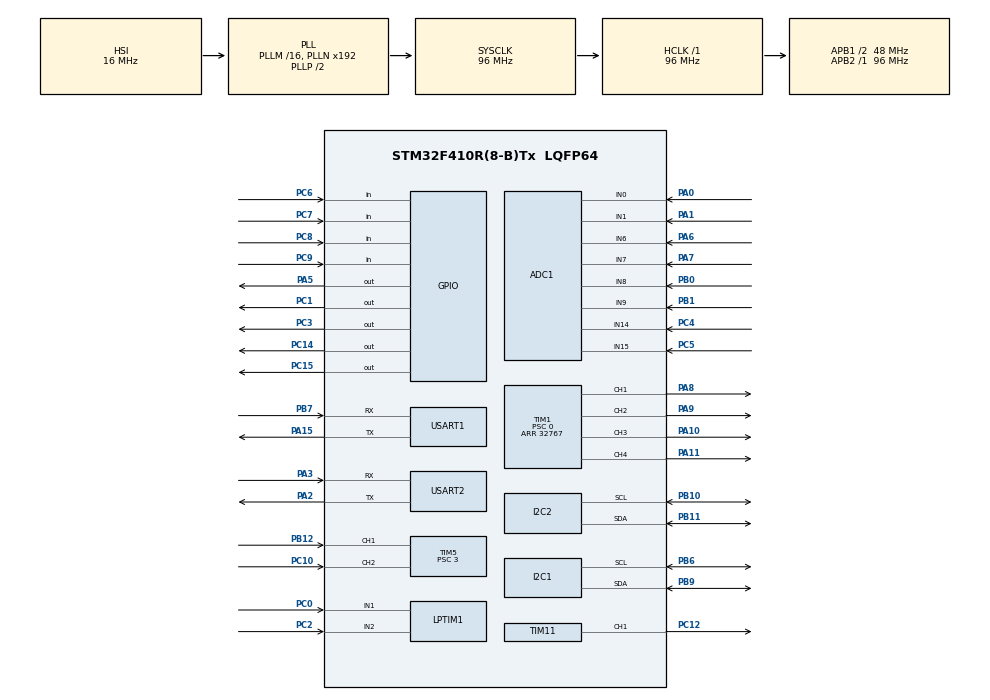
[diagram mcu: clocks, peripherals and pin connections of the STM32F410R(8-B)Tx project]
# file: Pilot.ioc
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ADC1.Channel-1\#ChannelRegularConversion=ADC_CHANNEL_0
ADC1.NbrOfConversionFlag=1
ADC1.Rank-1\#ChannelRegularConversion=1
ADC1.SamplingTime-1\#ChannelRegularConversion=ADC_SAMPLETIME_3CYCLES
ADC1.master=1
FREERTOS.Tasks01=defaultTask,0,128,StartDefaultTask,Default,NULL
LPTIM1.ULPClockPolarity=LPTIM_CLOCKPOLARITY_RISING_FALLING
Mcu.Family=STM32F4
Mcu.Name=STM32F410R(8-B)Tx
Mcu.Package=LQFP64
NVIC.PriorityGroup=NVIC_PRIORITYGROUP_4
NVIC.TIM6_DAC_IRQn=true\:0\:0\:false\:false\:true\:false\:false\:true
NVIC.TimeBase=TIM6_DAC_IRQn
NVIC.TimeBaseIP=TIM6
PA0-WKUP.Signal=ADCx_IN0
PA1.Signal=ADCx_IN1
PA10.GPIO_Speed=GPIO_SPEED_FREQ_HIGH
PA10.Signal=S_TIM1_CH3
PA11.GPIO_Speed=GPIO_SPEED_FREQ_HIGH
PA11.Signal=S_TIM1_CH4
PA13.Mode=Trace_Asynchronous_SW
PA13.Signal=SYS_JTMS-SWDIO
PA14.Mode=Trace_Asynchronous_SW
PA14.Signal=SYS_JTCK-SWCLK
PA15.Mode=Asynchronous
PA15.Signal=USART1_TX
PA2.Mode=Asynchronous
PA2.Signal=USART2_TX
PA3.Mode=Asynchronous
PA3.Signal=USART2_RX
PA5.GPIO_ModeDefaultOutputPP=GPIO_MODE_OUTPUT_PP
PA5.GPIO_PuPd=GPIO_NOPULL
PA5.GPIO_Speed=GPIO_SPEED_FREQ_LOW
PA5.PinState=GPIO_PIN_RESET
PA5.Signal=GPIO_Output
PA6.Signal=ADCx_IN6
PA7.Signal=ADCx_IN7
PA8.GPIO_Speed=GPIO_SPEED_FREQ_HIGH
PA8.Signal=S_TIM1_CH1
PA9.GPIO_Speed=GPIO_SPEED_FREQ_HIGH
PA9.Signal=S_TIM1_CH2
PB0.Signal=ADCx_IN8
PB1.Signal=ADCx_IN9
PB10.Mode=I2C
PB10.Signal=I2C2_SCL
PB11.Mode=I2C
PB11.Signal=I2C2_SDA
PB12.GPIO_Speed=GPIO_SPEED_FREQ_HIGH
PB12.Signal=S_TIM5_CH1
PB3.Mode=Trace_Asynchronous_SW
PB3.Signal=SYS_JTDO-SWO
PB6.Mode=I2C
PB6.Signal=I2C1_SCL
PB7.Mode=Asynchronous
PB7.Signal=USART1_RX
PB9.Mode=I2C
PB9.Signal=I2C1_SDA
PC0.GPIO_Speed=GPIO_SPEED_FREQ_HIGH
PC0.Mode=Encoder_mode_occur1
PC0.Signal=LPTIM1_IN1
PC1.Signal=GPIO_Output
PC10.GPIO_Speed=GPIO_SPEED_FREQ_HIGH
PC10.Signal=S_TIM5_CH2
PC12.Signal=S_TIM11_CH1
PC14-OSC32_IN.Signal=GPIO_Output
PC15-OSC32_OUT.Signal=GPIO_Output
PC2.GPIO_Speed=GPIO_SPEED_FREQ_HIGH
PC2.Mode=Encoder_mode_occur1
PC2.Signal=LPTIM1_IN2
PC3.Signal=GPIO_Output
PC4.Signal=ADCx_IN14
PC5.Signal=ADCx_IN15
PC6.Signal=GPIO_Input
PC7.Signal=GPIO_Input
PC8.Signal=GPIO_Input
PC9.Signal=GPIO_Input
ProjectManager.HeapSize=0x200
ProjectManager.StackSize=0x400
ProjectManager.TargetToolchain=MDK-ARM V5
RCC.48MHZClocksFreq_Value=48000000
RCC.AHBFreq_Value=96000000
RCC.APB1CLKDivider=RCC_HCLK_DIV2
RCC.APB1Freq_Value=48000000
RCC.APB1TimFreq_Value=96000000
RCC.APB2Freq_Value=96000000
RCC.APB2TimFreq_Value=96000000
RCC.CortexFreq_Value=96000000
RCC.HCLKFreq_Value=96000000
RCC.HSE_VALUE=25000000
RCC.HSI_VALUE=16000000
RCC.LSE_VALUE=32768
RCC.SYSCLKFreq_VALUE=96000000
RCC.SYSCLKSource=RCC_SYSCLKSOURCE_PLLCLK
RCC.VCOOutputFreq_Value=192000000
SH.ADCx_IN0.0=ADC1_IN0,IN0
SH.ADCx_IN1.0=ADC1_IN1,IN1
SH.ADCx_IN14.0=ADC1_IN14,IN14
SH.ADCx_IN15.0=ADC1_IN15,IN15
SH.ADCx_IN6.0=ADC1_IN6,IN6
SH.ADCx_IN7.0=ADC1_IN7,IN7
SH.ADCx_IN8.0=ADC1_IN8,IN8
SH.ADCx_IN9.0=ADC1_IN9,IN9
SH.S_TIM11_CH1.0=TIM11_CH1,PWM Generation1 CH1
SH.S_TIM1_CH1.0=TIM1_CH1,PWM Generation1 CH1
SH.S_TIM1_CH2.0=TIM1_CH2,PWM Generation2 CH2
SH.S_TIM1_CH3.0=TIM1_CH3,PWM Generation3 CH3
SH.S_TIM1_CH4.0=TIM1_CH4,PWM Generation4 CH4
SH.S_TIM5_CH1.0=TIM5_CH1,Encoder_Interface
SH.S_TIM5_CH2.0=TIM5_CH2,Encoder_Interface
TIM1.Channel-PWM\ Generation1\ CH1=TIM_CHANNEL_1
TIM1.Channel-PWM\ Generation2\ CH2=TIM_CHANNEL_2
TIM1.Channel-PWM\ Generation3\ CH3=TIM_CHANNEL_3
TIM1.Channel-PWM\ Generation4\ CH4=TIM_CHANNEL_4
TIM1.Period=32767
TIM1.Prescaler=0
TIM11.Channel=TIM_CHANNEL_1
TIM5.EncoderMode=TIM_ENCODERMODE_TI12
TIM5.IC2Filter=0
TIM5.Period=0xffffffff
TIM5.Prescaler=3
USART1.VirtualMode=VM_ASYNC
USART2.VirtualMode=VM_ASYNC
VP_FREERTOS_VS_CMSIS_V1.Mode=CMSIS_V1
VP_SYS_VS_tim6.Mode=TIM6
VP_TIM11_VS_ClockSourceINT.Mode=Enable_Timer
board=custom

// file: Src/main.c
/* USER CODE BEGIN Header */
/**
  ******************************************************************************
  * @file           : main.c
  * @brief          : Main program body
  ******************************************************************************
  * @attention
  *
  * <h2><center>&copy; Copyright (c) 2019 STMicroelectronics.
  * All rights reserved.</center></h2>
  *
  * This software component is licensed by ST under Ultimate Liberty license
  * SLA0044, the "License"; You may not use this file except in compliance with
  * the License. You may obtain a copy of the License at:
  *                             www.st.com/SLA0044
  *
  ******************************************************************************
  */
/* USER CODE END Header */

#include "main.h"
#include "cmsis_os.h"
#include "adc.h"
#include "i2c.h"
#include "lptim.h"
#include "tim.h"
#include "usart.h"
#include "gpio.h"

/* USER CODE BEGIN Includes */
#include <stdio.h>
/* USER CODE END Includes */

void SystemClock_Config(void);
void MX_FREERTOS_Init(void);

int main(void)
{

  /* MCU Configuration--------------------------------------------------------*/

  /* Reset of all peripherals, Initializes the Flash interface and the Systick. */
  HAL_Init();

  /* Configure the system clock */
  SystemClock_Config();

  /* Initialize all configured peripherals */
  MX_GPIO_Init();
  MX_ADC1_Init();
  MX_I2C1_Init();
  MX_I2C2_Init();
  MX_USART2_UART_Init();
  MX_TIM5_Init();
  MX_TIM1_Init();
  MX_LPTIM1_Init();
  MX_TIM11_Init();
  MX_USART1_UART_Init();

  /* Call init function for freertos objects (in freertos.c) */
  MX_FREERTOS_Init();

  /* Start scheduler */
  osKernelStart();

  /* We should never get here as control is now taken by the scheduler */

  /* Infinite loop */
  while (1)
  {

  }
}

void SystemClock_Config(void)
{
  RCC_OscInitTypeDef RCC_OscInitStruct = {0};
  RCC_ClkInitTypeDef RCC_ClkInitStruct = {0};
  RCC_PeriphCLKInitTypeDef PeriphClkInitStruct = {0};

  /** Configure the main internal regulator output voltage
  */
  __HAL_RCC_PWR_CLK_ENABLE();
  __HAL_PWR_VOLTAGESCALING_CONFIG(PWR_REGULATOR_VOLTAGE_SCALE1);
  /** Initializes the CPU, AHB and APB busses clocks
  */
  RCC_OscInitStruct.OscillatorType = RCC_OSCILLATORTYPE_HSI;
  RCC_OscInitStruct.HSIState = RCC_HSI_ON;
  RCC_OscInitStruct.HSICalibrationValue = RCC_HSICALIBRATION_DEFAULT;
  RCC_OscInitStruct.PLL.PLLState = RCC_PLL_ON;
  RCC_OscInitStruct.PLL.PLLSource = RCC_PLLSOURCE_HSI;
  RCC_OscInitStruct.PLL.PLLM = 16;
  RCC_OscInitStruct.PLL.PLLN = 192;
  RCC_OscInitStruct.PLL.PLLP = RCC_PLLP_DIV2;
  RCC_OscInitStruct.PLL.PLLQ = 4;
  RCC_OscInitStruct.PLL.PLLR = 2;
  if (HAL_RCC_OscConfig(&RCC_OscInitStruct) != HAL_OK)
  {
    Error_Handler();
  }
  /** Initializes the CPU, AHB and APB busses clocks
  */
  RCC_ClkInitStruct.ClockType = RCC_CLOCKTYPE_HCLK|RCC_CLOCKTYPE_SYSCLK
                              |RCC_CLOCKTYPE_PCLK1|RCC_CLOCKTYPE_PCLK2;
  RCC_ClkInitStruct.SYSCLKSource = RCC_SYSCLKSOURCE_PLLCLK;
  RCC_ClkInitStruct.AHBCLKDivider = RCC_SYSCLK_DIV1;
  RCC_ClkInitStruct.APB1CLKDivider = RCC_HCLK_DIV2;
  RCC_ClkInitStruct.APB2CLKDivider = RCC_HCLK_DIV1;

  if (HAL_RCC_ClockConfig(&RCC_ClkInitStruct, FLASH_LATENCY_3) != HAL_OK)
  {
    Error_Handler();
  }
  PeriphClkInitStruct.PeriphClockSelection = RCC_PERIPHCLK_LPTIM1;
  PeriphClkInitStruct.Lptim1ClockSelection = RCC_LPTIM1CLKSOURCE_PCLK;
  if (HAL_RCCEx_PeriphCLKConfig(&PeriphClkInitStruct) != HAL_OK)
  {
    Error_Handler();
  }
}

void HAL_TIM_PeriodElapsedCallback(TIM_HandleTypeDef *htim)
{
  if (htim->Instance == TIM6) {
    HAL_IncTick();
  }
}

void Error_Handler(void)
{
  /* USER CODE BEGIN Error_Handler_Debug */
  /* User can add his own implementation to report the HAL error return state */
  printf("HAL init error!");

  /* USER CODE END Error_Handler_Debug */
}

/************************ (C) COPYRIGHT STMicroelectronics *****END OF FILE****/

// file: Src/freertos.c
/* USER CODE BEGIN Header */
/**
  ******************************************************************************
  * File Name          : freertos.c
  * Description        : Code for freertos applications
  ******************************************************************************
  * @attention
  *
  * <h2><center>&copy; Copyright (c) 2019 STMicroelectronics.
  * All rights reserved.</center></h2>
  *
  * This software component is licensed by ST under Ultimate Liberty license
  * SLA0044, the "License"; You may not use this file except in compliance with
  * the License. You may obtain a copy of the License at:
  *                             www.st.com/SLA0044
  *
  ******************************************************************************
  */
/* USER CODE END Header */

#include "FreeRTOS.h"
#include "task.h"
#include "main.h"
#include "cmsis_os.h"

/* USER CODE BEGIN PD */
// For OpenOCD multi-thread debugging
#ifdef __GNUC__
#define USED __attribute__((used))
#else
#define USED
#endif
const int USED uxTopUsedPriority = configMAX_PRIORITIES - 1;

/* USER CODE END PD */

/* USER CODE BEGIN Variables */
osThreadId wifiTaskHandle;
osThreadId motorTaskHandle;
/* USER CODE END Variables */
osThreadId defaultTaskHandle;

/* USER CODE BEGIN FunctionPrototypes */
void StartWifiTask(void const * argument);
void StartMotorTask(void const * argument);
/* USER CODE END FunctionPrototypes */

void StartDefaultTask(void const * argument);

void MX_FREERTOS_Init(void); /* (MISRA C 2004 rule 8.1) */

/* GetIdleTaskMemory prototype (linked to static allocation support) */
void vApplicationGetIdleTaskMemory( StaticTask_t **ppxIdleTaskTCBBuffer, StackType_t **ppxIdleTaskStackBuffer, uint32_t *pulIdleTaskStackSize );

/* USER CODE BEGIN GET_IDLE_TASK_MEMORY */
static StaticTask_t xIdleTaskTCBBuffer;
static StackType_t xIdleStack[configMINIMAL_STACK_SIZE];

void vApplicationGetIdleTaskMemory( StaticTask_t **ppxIdleTaskTCBBuffer, StackType_t **ppxIdleTaskStackBuffer, uint32_t *pulIdleTaskStackSize )
{
  *ppxIdleTaskTCBBuffer = &xIdleTaskTCBBuffer;
  *ppxIdleTaskStackBuffer = &xIdleStack[0];
  *pulIdleTaskStackSize = configMINIMAL_STACK_SIZE;
  /* place for user code */
}
/* USER CODE END GET_IDLE_TASK_MEMORY */

void MX_FREERTOS_Init(void) {

  /* Create the thread(s) */
  /* definition and creation of defaultTask */
  osThreadDef(defaultTask, StartDefaultTask, osPriorityNormal, 0, 128);
  defaultTaskHandle = osThreadCreate(osThread(defaultTask), NULL);

  /* USER CODE BEGIN RTOS_THREADS */
  /* add threads, ... */
  osThreadDef(motorTask, StartMotorTask, osPriorityNormal, 0, 128);
  motorTaskHandle = osThreadCreate(osThread(motorTask), NULL);

  osThreadDef(wifiTask, StartWifiTask, osPriorityNormal, 0, 128);
  wifiTaskHandle = osThreadCreate(osThread(wifiTask), NULL);
  /* USER CODE END RTOS_THREADS */

}

void StartDefaultTask(void const * argument)
{

  /* USER CODE BEGIN StartDefaultTask */
  /* Infinite loop */
  for(;;)
  {
    // Toggle the LD2 blink!
    HAL_GPIO_TogglePin(GPIOA , GPIO_PIN_5);
    // printf("hello world\r\n");
    osDelay(500);
  }
  /* USER CODE END StartDefaultTask */
}

/************************ (C) COPYRIGHT STMicroelectronics *****END OF FILE****/
